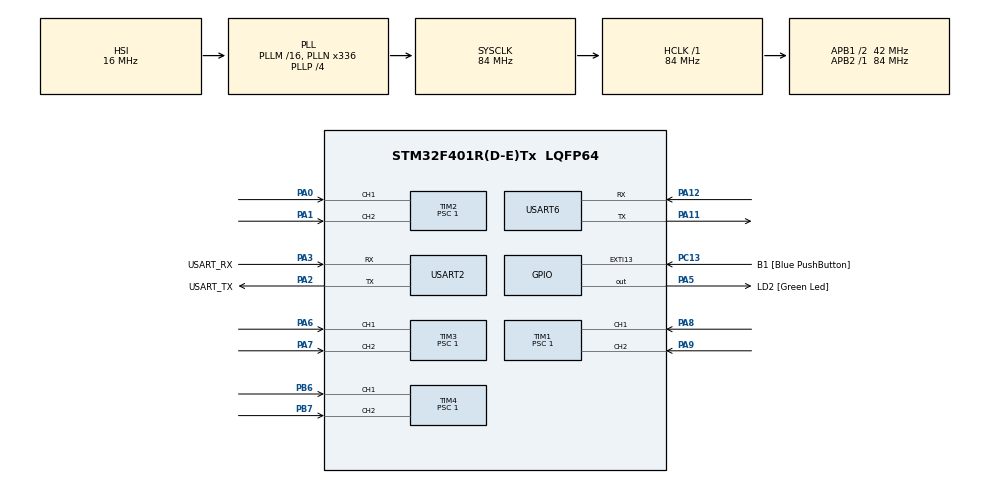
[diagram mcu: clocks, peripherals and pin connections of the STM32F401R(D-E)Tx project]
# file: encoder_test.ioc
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Mcu.Family=STM32F4
Mcu.Name=STM32F401R(D-E)Tx
Mcu.Package=LQFP64
NVIC.PriorityGroup=NVIC_PRIORITYGROUP_0
NVIC.TIM1_UP_TIM10_IRQn=true\:0\:0\:false\:false\:true\:true\:true
PA0-WKUP.Signal=S_TIM2_CH1_ETR
PA1.Signal=S_TIM2_CH2
PA11.Mode=Asynchronous
PA11.Signal=USART6_TX
PA12.Mode=Asynchronous
PA12.Signal=USART6_RX
PA13.GPIO_Label=TMS
PA13.Mode=Serial_Wire
PA13.Signal=SYS_JTMS-SWDIO
PA14.GPIO_Label=TCK
PA14.Mode=Serial_Wire
PA14.Signal=SYS_JTCK-SWCLK
PA2.GPIO_Label=USART_TX
PA2.GPIO_Mode=GPIO_MODE_AF_PP
PA2.GPIO_PuPd=GPIO_NOPULL
PA2.GPIO_Speed=GPIO_SPEED_FREQ_LOW
PA2.Mode=Asynchronous
PA2.Signal=USART2_TX
PA3.GPIO_Label=USART_RX
PA3.GPIO_Mode=GPIO_MODE_AF_PP
PA3.GPIO_PuPd=GPIO_NOPULL
PA3.GPIO_Speed=GPIO_SPEED_FREQ_LOW
PA3.Mode=Asynchronous
PA3.Signal=USART2_RX
PA5.GPIO_Label=LD2 [Green Led]
PA5.GPIO_Mode=GPIO_MODE_OUTPUT_PP
PA5.GPIO_PuPd=GPIO_NOPULL
PA5.GPIO_Speed=GPIO_SPEED_FREQ_LOW
PA5.Signal=GPIO_Output
PA6.Signal=S_TIM3_CH1
PA7.Signal=S_TIM3_CH2
PA8.Signal=S_TIM1_CH1
PA9.Signal=S_TIM1_CH2
PB3.GPIO_Label=SWO
PB3.Signal=SYS_JTDO-SWO
PB6.Signal=S_TIM4_CH1
PB7.Signal=S_TIM4_CH2
PC13-ANTI_TAMP.GPIO_Label=B1 [Blue PushButton]
PC13-ANTI_TAMP.GPIO_ModeDefaultEXTI=GPIO_MODE_IT_FALLING
PC13-ANTI_TAMP.GPIO_PuPd=GPIO_NOPULL
PC13-ANTI_TAMP.Signal=GPXTI13
PC14-OSC32_IN.Mode=LSE-External-Oscillator
PC14-OSC32_IN.Signal=RCC_OSC32_IN
PC15-OSC32_OUT.Mode=LSE-External-Oscillator
PC15-OSC32_OUT.Signal=RCC_OSC32_OUT
PH0\ -\ OSC_IN.Mode=HSE-External-Clock-Source
PH0\ -\ OSC_IN.Signal=RCC_OSC_IN
PH1\ -\ OSC_OUT.Mode=HSE-External-Clock-Source
PH1\ -\ OSC_OUT.Signal=RCC_OSC_OUT
ProjectManager.HeapSize=0x200
ProjectManager.StackSize=0x400
ProjectManager.TargetToolchain=STM32CubeIDE
RCC.48MHZClocksFreq_Value=48000000
RCC.AHBFreq_Value=84000000
RCC.APB1CLKDivider=RCC_HCLK_DIV2
RCC.APB1Freq_Value=42000000
RCC.APB1TimFreq_Value=84000000
RCC.APB2Freq_Value=84000000
RCC.APB2TimFreq_Value=84000000
RCC.CortexFreq_Value=84000000
RCC.HCLKFreq_Value=84000000
RCC.HSE_VALUE=8000000
RCC.HSI_VALUE=16000000
RCC.PLLN=336
RCC.PLLP=RCC_PLLP_DIV4
RCC.PLLQ=7
RCC.SYSCLKFreq_VALUE=84000000
RCC.SYSCLKSource=RCC_SYSCLKSOURCE_PLLCLK
RCC.VCOOutputFreq_Value=336000000
SH.S_TIM1_CH1.0=TIM1_CH1,Encoder_Interface
SH.S_TIM1_CH2.0=TIM1_CH2,Encoder_Interface
SH.S_TIM2_CH1_ETR.0=TIM2_CH1,Encoder_Interface
SH.S_TIM2_CH2.0=TIM2_CH2,Encoder_Interface
SH.S_TIM3_CH1.0=TIM3_CH1,Encoder_Interface
SH.S_TIM3_CH2.0=TIM3_CH2,Encoder_Interface
SH.S_TIM4_CH1.0=TIM4_CH1,Encoder_Interface
SH.S_TIM4_CH2.0=TIM4_CH2,Encoder_Interface
TIM1.EncoderMode=TIM_ENCODERMODE_TI1
TIM1.IC1Filter=0
TIM1.Period=59999
TIM1.Prescaler=1
TIM10.AutoReloadPreload=TIM_AUTORELOAD_PRELOAD_ENABLE
TIM10.Period=8400
TIM10.Prescaler=999
TIM2.Period=59999
TIM2.Prescaler=1
TIM3.Period=59999
TIM3.Prescaler=1
TIM4.Period=59999
TIM4.Prescaler=1
USART2.VirtualMode=VM_ASYNC
USART6.VirtualMode=VM_ASYNC
VP_TIM10_VS_ClockSourceINT.Mode=Enable_Timer
board=NUCLEO-F401RE

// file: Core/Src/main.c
/* USER CODE BEGIN Header */
/**
 ******************************************************************************
 * @file           : main.c
 * @brief          : Main program body
 ******************************************************************************
 * @attention
 *
 * <h2><center>&copy; Copyright (c) 2021 STMicroelectronics.
 * All rights reserved.</center></h2>
 *
 * This software component is licensed by ST under BSD 3-Clause license,
 * the "License"; You may not use this file except in compliance with the
 * License. You may obtain a copy of the License at:
 *                        opensource.org/licenses/BSD-3-Clause
 *
 ******************************************************************************
 */
/* USER CODE END Header */
#include "main.h"

/* USER CODE BEGIN Includes */
#include "xprintf.h"
/* USER CODE END Includes */

TIM_HandleTypeDef htim1;
TIM_HandleTypeDef htim2;
TIM_HandleTypeDef htim3;
TIM_HandleTypeDef htim4;
TIM_HandleTypeDef htim10;

UART_HandleTypeDef huart2;
UART_HandleTypeDef huart6;

void SystemClock_Config(void);
static void MX_GPIO_Init(void);
static void MX_USART2_UART_Init(void);
static void MX_TIM3_Init(void);
static void MX_TIM1_Init(void);
static void MX_TIM2_Init(void);
static void MX_TIM4_Init(void);
static void MX_TIM10_Init(void);
static void MX_USART6_UART_Init(void);

/* USER CODE BEGIN 0 */
float pwm[4] = { 0 };
void Count2rpm() {
	pwm[0] = TIM1->CNT - 30000;
	pwm[1] = TIM2->CNT - 30000;
	pwm[2] = TIM3->CNT - 30000;
	pwm[3] = TIM4->CNT - 30000;
	TIM1->CNT = 30000;
	TIM2->CNT = 30000;
	TIM3->CNT = 30000;
	TIM4->CNT = 30000;
}

void uart_putc(uint8_t c) {
	char buf[1];
	buf[0] = c;
	HAL_UART_Transmit(&huart2, (uint8_t*) buf, sizeof(buf), 0xFFFF);
}
void uart_puts(char *str) {
	while (*str) {
		uart_putc(*str++);
	}
}

TIM_Encoder_InitTypeDef sConfig1;
TIM_Encoder_InitTypeDef sConfig2;
TIM_Encoder_InitTypeDef sConfig3;
TIM_Encoder_InitTypeDef sConfig4;
TIM_MasterConfigTypeDef sMasterConfig1;
TIM_MasterConfigTypeDef sMasterConfig2;
TIM_MasterConfigTypeDef sMasterConfig3;
TIM_MasterConfigTypeDef sMasterConfig4;
/* USER CODE END 0 */

int main(void)
{
  /* USER CODE BEGIN 1 */
	xdev_out(uart_putc);

  /* USER CODE END 1 */

  /* MCU Configuration--------------------------------------------------------*/

  /* Reset of all peripherals, Initializes the Flash interface and the Systick. */
  HAL_Init();

  /* Configure the system clock */
  SystemClock_Config();

  /* Initialize all configured peripherals */
  MX_GPIO_Init();
  MX_USART2_UART_Init();
  MX_TIM3_Init();
  MX_TIM1_Init();
  MX_TIM2_Init();
  MX_TIM4_Init();
  MX_TIM10_Init();
  MX_USART6_UART_Init();
  /* USER CODE BEGIN 2 */
	uint8_t buf[5];
	uint16_t tx_rpm[4] = { 500, 500, 500, 500 };
	if (HAL_TIM_Encoder_Init(&htim1, &sConfig1) != HAL_OK) {
		Error_Handler();
	}
	HAL_TIM_Encoder_Start(&htim1, TIM_CHANNEL_ALL);
	TIM1->CNT = 30000;

	if (HAL_TIM_Encoder_Init(&htim2, &sConfig2) != HAL_OK) {
		Error_Handler();
	}
	HAL_TIM_Encoder_Start(&htim2, TIM_CHANNEL_ALL);
	TIM2->CNT = 30000;

	if (HAL_TIM_Encoder_Init(&htim3, &sConfig3) != HAL_OK) {
		Error_Handler();
	}
	HAL_TIM_Encoder_Start(&htim3, TIM_CHANNEL_ALL);
	TIM3->CNT = 30000;

	if (HAL_TIM_Encoder_Init(&htim4, &sConfig4) != HAL_OK) {
		Error_Handler();
	}
	HAL_TIM_Encoder_Start(&htim4, TIM_CHANNEL_ALL);
	TIM4->CNT = 30000;
	HAL_TIM_Base_Start_IT(&htim10);
  /* USER CODE END 2 */

  /* Infinite loop */
  /* USER CODE BEGIN WHILE */
	while (1) {
		for (int i = 0; i < 4; i++) {
			tx_rpm[i] = (int)pwm[i] + 500;
		}
		buf[0] = (tx_rpm[0] & 0xFF); //0から8?��?
		buf[1] = (((tx_rpm[0] >> 8) + (tx_rpm[1] << 2)) & 0xFF); //0から2�?��??1から6?��?
		buf[2] = (((tx_rpm[1] >> 6) + (tx_rpm[2] << 4)) & 0xFF); //1から4�?��??2から4?��?
		buf[3] = (((tx_rpm[2] >> 4) + (tx_rpm[3] << 6)) & 0xFF); //2から6�?��??3から2?��?
		buf[4] = ((tx_rpm[3] >> 2) & 0xFF);
		HAL_UART_Transmit(&huart6, buf, sizeof(buf), 0xFFFF);
		xprintf("%d,%d,%d,%d\r\n",(int)pwm[0],(int)pwm[1],(int)pwm[2],(int)pwm[3]);
		HAL_Delay(100);
    /* USER CODE END WHILE */

	}
}

void SystemClock_Config(void)
{
  RCC_OscInitTypeDef RCC_OscInitStruct = {0};
  RCC_ClkInitTypeDef RCC_ClkInitStruct = {0};

  /** Configure the main internal regulator output voltage
  */
  __HAL_RCC_PWR_CLK_ENABLE();
  __HAL_PWR_VOLTAGESCALING_CONFIG(PWR_REGULATOR_VOLTAGE_SCALE2);
  /** Initializes the RCC Oscillators according to the specified parameters
  * in the RCC_OscInitTypeDef structure.
  */
  RCC_OscInitStruct.OscillatorType = RCC_OSCILLATORTYPE_HSI;
  RCC_OscInitStruct.HSIState = RCC_HSI_ON;
  RCC_OscInitStruct.HSICalibrationValue = RCC_HSICALIBRATION_DEFAULT;
  RCC_OscInitStruct.PLL.PLLState = RCC_PLL_ON;
  RCC_OscInitStruct.PLL.PLLSource = RCC_PLLSOURCE_HSI;
  RCC_OscInitStruct.PLL.PLLM = 16;
  RCC_OscInitStruct.PLL.PLLN = 336;
  RCC_OscInitStruct.PLL.PLLP = RCC_PLLP_DIV4;
  RCC_OscInitStruct.PLL.PLLQ = 7;
  if (HAL_RCC_OscConfig(&RCC_OscInitStruct) != HAL_OK)
  {
    Error_Handler();
  }
  /** Initializes the CPU, AHB and APB buses clocks
  */
  RCC_ClkInitStruct.ClockType = RCC_CLOCKTYPE_HCLK|RCC_CLOCKTYPE_SYSCLK
                              |RCC_CLOCKTYPE_PCLK1|RCC_CLOCKTYPE_PCLK2;
  RCC_ClkInitStruct.SYSCLKSource = RCC_SYSCLKSOURCE_PLLCLK;
  RCC_ClkInitStruct.AHBCLKDivider = RCC_SYSCLK_DIV1;
  RCC_ClkInitStruct.APB1CLKDivider = RCC_HCLK_DIV2;
  RCC_ClkInitStruct.APB2CLKDivider = RCC_HCLK_DIV1;

  if (HAL_RCC_ClockConfig(&RCC_ClkInitStruct, FLASH_LATENCY_2) != HAL_OK)
  {
    Error_Handler();
  }
}

static void MX_TIM1_Init(void)
{

  //TIM_Encoder_InitTypeDef sConfig = {0};
  //TIM_MasterConfigTypeDef sMasterConfig = {0};

  htim1.Instance = TIM1;
  htim1.Init.Prescaler = 1;
  htim1.Init.CounterMode = TIM_COUNTERMODE_UP;
  htim1.Init.Period = 59999;
  htim1.Init.ClockDivision = TIM_CLOCKDIVISION_DIV1;
  htim1.Init.RepetitionCounter = 0;
  htim1.Init.AutoReloadPreload = TIM_AUTORELOAD_PRELOAD_DISABLE;
  sConfig1.EncoderMode = TIM_ENCODERMODE_TI1;
  sConfig1.IC1Polarity = TIM_ICPOLARITY_RISING;
  sConfig1.IC1Selection = TIM_ICSELECTION_DIRECTTI;
  sConfig1.IC1Prescaler = TIM_ICPSC_DIV1;
  sConfig1.IC1Filter = 0;
  sConfig1.IC2Polarity = TIM_ICPOLARITY_RISING;
  sConfig1.IC2Selection = TIM_ICSELECTION_DIRECTTI;
  sConfig1.IC2Prescaler = TIM_ICPSC_DIV1;
  sConfig1.IC2Filter = 0;
  if (HAL_TIM_Encoder_Init(&htim1, &sConfig1) != HAL_OK)
  {
    Error_Handler();
  }
  sMasterConfig1.MasterOutputTrigger = TIM_TRGO_RESET;
  sMasterConfig1.MasterSlaveMode = TIM_MASTERSLAVEMODE_DISABLE;
  if (HAL_TIMEx_MasterConfigSynchronization(&htim1, &sMasterConfig1) != HAL_OK)
  {
    Error_Handler();
  }

}

static void MX_TIM2_Init(void)
{

  //TIM_Encoder_InitTypeDef sConfig = {0};
  //TIM_MasterConfigTypeDef sMasterConfig = {0};

  htim2.Instance = TIM2;
  htim2.Init.Prescaler = 1;
  htim2.Init.CounterMode = TIM_COUNTERMODE_UP;
  htim2.Init.Period = 59999;
  htim2.Init.ClockDivision = TIM_CLOCKDIVISION_DIV1;
  htim2.Init.AutoReloadPreload = TIM_AUTORELOAD_PRELOAD_DISABLE;
  sConfig2.EncoderMode = TIM_ENCODERMODE_TI1;
  sConfig2.IC1Polarity = TIM_ICPOLARITY_RISING;
  sConfig2.IC1Selection = TIM_ICSELECTION_DIRECTTI;
  sConfig2.IC1Prescaler = TIM_ICPSC_DIV1;
  sConfig2.IC1Filter = 0;
  sConfig2.IC2Polarity = TIM_ICPOLARITY_RISING;
  sConfig2.IC2Selection = TIM_ICSELECTION_DIRECTTI;
  sConfig2.IC2Prescaler = TIM_ICPSC_DIV1;
  sConfig2.IC2Filter = 0;
  if (HAL_TIM_Encoder_Init(&htim2, &sConfig2) != HAL_OK)
  {
    Error_Handler();
  }
  sMasterConfig2.MasterOutputTrigger = TIM_TRGO_RESET;
  sMasterConfig2.MasterSlaveMode = TIM_MASTERSLAVEMODE_DISABLE;
  if (HAL_TIMEx_MasterConfigSynchronization(&htim2, &sMasterConfig2) != HAL_OK)
  {
    Error_Handler();
  }

}

static void MX_TIM3_Init(void)
{

  //TIM_Encoder_InitTypeDef sConfig = {0};
  //TIM_MasterConfigTypeDef sMasterConfig = {0};

  htim3.Instance = TIM3;
  htim3.Init.Prescaler = 1;
  htim3.Init.CounterMode = TIM_COUNTERMODE_UP;
  htim3.Init.Period = 59999;
  htim3.Init.ClockDivision = TIM_CLOCKDIVISION_DIV1;
  htim3.Init.AutoReloadPreload = TIM_AUTORELOAD_PRELOAD_DISABLE;
  sConfig3.EncoderMode = TIM_ENCODERMODE_TI1;
  sConfig3.IC1Polarity = TIM_ICPOLARITY_RISING;
  sConfig3.IC1Selection = TIM_ICSELECTION_DIRECTTI;
  sConfig3.IC1Prescaler = TIM_ICPSC_DIV1;
  sConfig3.IC1Filter = 0;
  sConfig3.IC2Polarity = TIM_ICPOLARITY_RISING;
  sConfig3.IC2Selection = TIM_ICSELECTION_DIRECTTI;
  sConfig3.IC2Prescaler = TIM_ICPSC_DIV1;
  sConfig3.IC2Filter = 0;
  if (HAL_TIM_Encoder_Init(&htim3, &sConfig3) != HAL_OK)
  {
    Error_Handler();
  }
  sMasterConfig3.MasterOutputTrigger = TIM_TRGO_RESET;
  sMasterConfig3.MasterSlaveMode = TIM_MASTERSLAVEMODE_DISABLE;
  if (HAL_TIMEx_MasterConfigSynchronization(&htim3, &sMasterConfig3) != HAL_OK)
  {
    Error_Handler();
  }

}

static void MX_TIM4_Init(void)
{

  //TIM_Encoder_InitTypeDef sConfig = {0};
  //TIM_MasterConfigTypeDef sMasterConfig = {0};

  htim4.Instance = TIM4;
  htim4.Init.Prescaler = 1;
  htim4.Init.CounterMode = TIM_COUNTERMODE_UP;
  htim4.Init.Period = 59999;
  htim4.Init.ClockDivision = TIM_CLOCKDIVISION_DIV1;
  htim4.Init.AutoReloadPreload = TIM_AUTORELOAD_PRELOAD_DISABLE;
  sConfig4.EncoderMode = TIM_ENCODERMODE_TI1;
  sConfig4.IC1Polarity = TIM_ICPOLARITY_RISING;
  sConfig4.IC1Selection = TIM_ICSELECTION_DIRECTTI;
  sConfig4.IC1Prescaler = TIM_ICPSC_DIV1;
  sConfig4.IC1Filter = 0;
  sConfig4.IC2Polarity = TIM_ICPOLARITY_RISING;
  sConfig4.IC2Selection = TIM_ICSELECTION_DIRECTTI;
  sConfig4.IC2Prescaler = TIM_ICPSC_DIV1;
  sConfig4.IC2Filter = 0;
  if (HAL_TIM_Encoder_Init(&htim4, &sConfig4) != HAL_OK)
  {
    Error_Handler();
  }
  sMasterConfig4.MasterOutputTrigger = TIM_TRGO_RESET;
  sMasterConfig4.MasterSlaveMode = TIM_MASTERSLAVEMODE_DISABLE;
  if (HAL_TIMEx_MasterConfigSynchronization(&htim4, &sMasterConfig4) != HAL_OK)
  {
    Error_Handler();
  }

}

static void MX_TIM10_Init(void)
{

  htim10.Instance = TIM10;
  htim10.Init.Prescaler = 999;
  htim10.Init.CounterMode = TIM_COUNTERMODE_UP;
  htim10.Init.Period = 8400;
  htim10.Init.ClockDivision = TIM_CLOCKDIVISION_DIV1;
  htim10.Init.AutoReloadPreload = TIM_AUTORELOAD_PRELOAD_ENABLE;
  if (HAL_TIM_Base_Init(&htim10) != HAL_OK)
  {
    Error_Handler();
  }

}

static void MX_USART2_UART_Init(void)
{

  huart2.Instance = USART2;
  huart2.Init.BaudRate = 115200;
  huart2.Init.WordLength = UART_WORDLENGTH_8B;
  huart2.Init.StopBits = UART_STOPBITS_1;
  huart2.Init.Parity = UART_PARITY_NONE;
  huart2.Init.Mode = UART_MODE_TX_RX;
  huart2.Init.HwFlowCtl = UART_HWCONTROL_NONE;
  huart2.Init.OverSampling = UART_OVERSAMPLING_16;
  if (HAL_UART_Init(&huart2) != HAL_OK)
  {
    Error_Handler();
  }

}

static void MX_USART6_UART_Init(void)
{

  huart6.Instance = USART6;
  huart6.Init.BaudRate = 115200;
  huart6.Init.WordLength = UART_WORDLENGTH_8B;
  huart6.Init.StopBits = UART_STOPBITS_1;
  huart6.Init.Parity = UART_PARITY_NONE;
  huart6.Init.Mode = UART_MODE_TX_RX;
  huart6.Init.HwFlowCtl = UART_HWCONTROL_NONE;
  huart6.Init.OverSampling = UART_OVERSAMPLING_16;
  if (HAL_UART_Init(&huart6) != HAL_OK)
  {
    Error_Handler();
  }

}

static void MX_GPIO_Init(void)
{
  GPIO_InitTypeDef GPIO_InitStruct = {0};

  /* GPIO Ports Clock Enable */
  __HAL_RCC_GPIOC_CLK_ENABLE();
  __HAL_RCC_GPIOH_CLK_ENABLE();
  __HAL_RCC_GPIOA_CLK_ENABLE();
  __HAL_RCC_GPIOB_CLK_ENABLE();

  /*Configure GPIO pin Output Level */
  HAL_GPIO_WritePin(LD2_GPIO_Port, LD2_Pin, GPIO_PIN_RESET);

  /*Configure GPIO pin : B1_Pin */
  GPIO_InitStruct.Pin = B1_Pin;
  GPIO_InitStruct.Mode = GPIO_MODE_IT_FALLING;
  GPIO_InitStruct.Pull = GPIO_NOPULL;
  HAL_GPIO_Init(B1_GPIO_Port, &GPIO_InitStruct);

  /*Configure GPIO pin : LD2_Pin */
  GPIO_InitStruct.Pin = LD2_Pin;
  GPIO_InitStruct.Mode = GPIO_MODE_OUTPUT_PP;
  GPIO_InitStruct.Pull = GPIO_NOPULL;
  GPIO_InitStruct.Speed = GPIO_SPEED_FREQ_LOW;
  HAL_GPIO_Init(LD2_GPIO_Port, &GPIO_InitStruct);

}

void Error_Handler(void)
{
}

/************************ (C) COPYRIGHT STMicroelectronics *****END OF FILE****/
